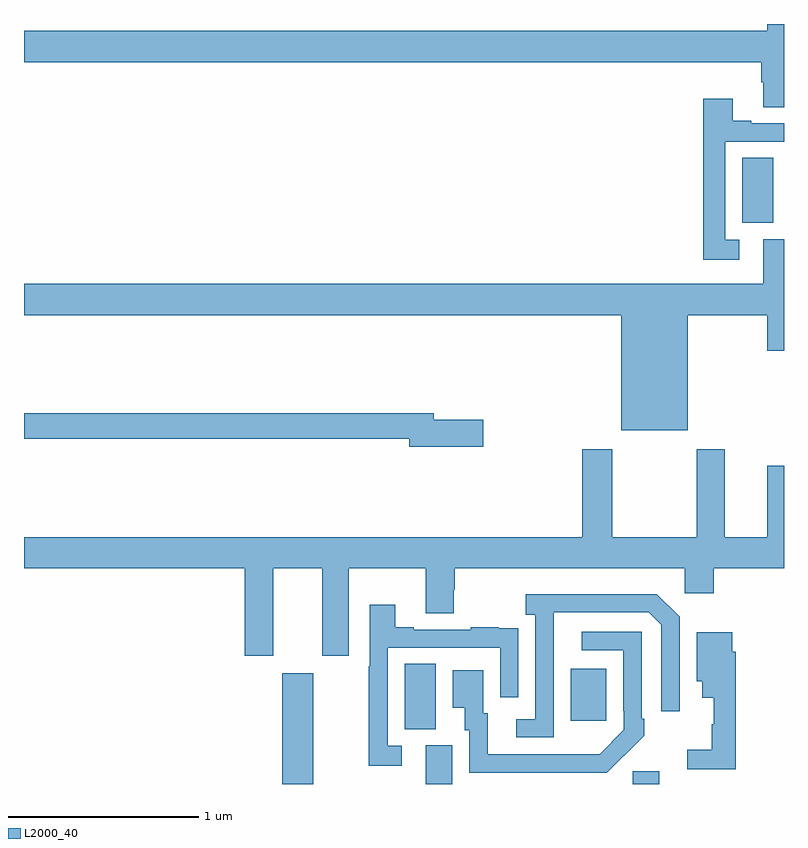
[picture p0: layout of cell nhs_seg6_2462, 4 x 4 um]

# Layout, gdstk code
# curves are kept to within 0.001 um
import gdstk
lib = gdstk.Library(unit=1e-6, precision=1e-09)
def R(c, l, rs):  # rectangles x0, y0, x1, y1
    for r in rs: c.add(gdstk.rectangle(r[:2], r[2:], *l))
def P(c, l, *ps):  # polygons
    for p in ps: c.add(gdstk.Polygon(p, *l))
L2000_40 = (2000, 40)

nhs_seg6_2462 = lib.new_cell('nhs_seg6_2462')
R(nhs_seg6_2462, L2000_40, [(258.359,979.5,258.523,980.083), (259.115,979.5,259.255,979.704), (260.205,979.5,260.344,979.566), (259.004,979.789,259.168,980.132), (259.877,979.833,260.065,980.107), (260.78,982.453,260.944,982.796)])
P(nhs_seg6_2462, L2000_40, [(261,983.5),(260.912,983.5),(260.912,983.464),(257,983.464),(257,983.3),(260.879,983.3),(260.879,983.194),(260.891,983.194),(260.891,983.062),(261,983.062)],
  [(260.764,982.365),(260.691,982.365),(260.691,982.881),(261,982.881),(261,982.977),(260.827,982.977),(260.827,982.99),(260.731,982.99),(260.731,983.107),(260.575,983.107),(260.575,982.26),(260.764,982.26)],
  [(260.494,981.968),(260.912,981.968),(260.912,981.78),(261,981.78),(261,982.368),(260.891,982.368),(260.891,982.132),(257,982.132),(257,981.968),(260.144,981.968),(260.144,981.362),(260.494,981.362)],
  [(259.416,981.416),(259.156,981.416),(259.156,981.452),(257,981.452),(257,981.316),(259.028,981.316),(259.028,981.274),(259.416,981.274)],
  [(258.313,980.636),(258.569,980.636),(258.569,980.175),(258.709,980.175),(258.709,980.636),(259.115,980.636),(259.115,980.398),(259.263,980.398),(259.263,980.523),(259.267,980.523),(259.267,980.636),(260.478,980.636),(260.478,980.505),(260.63,980.505),(260.63,980.636),(261,980.636),(261,981.175),(260.912,981.175),(260.912,980.8),(260.689,980.8),(260.689,981.262),(260.541,981.262),(260.541,980.8),(260.097,980.8),(260.097,981.262),(259.937,981.262),(259.937,980.8),(257,980.8),(257,980.636),(258.161,980.636),(258.161,980.175),(258.313,980.175)],
  [(259.788,980.203),(259.789,980.403),(260.289,980.403),(260.355,980.337),(260.355,979.884),(260.451,979.884),(260.451,980.379),(260.33,980.5),(259.641,980.5),(259.641,980.39),(259.692,980.39),(259.692,979.842),(259.59,979.842),(259.59,979.746),(259.788,979.746)],
  [(258.988,979.701),(258.915,979.701),(258.915,980.217),(259.506,980.217),(259.506,979.956),(259.602,979.956),(259.602,980.21),(259.601,980.21),(259.601,980.319),(259.499,980.319),(259.499,980.326),(259.351,980.326),(259.351,980.313),(259.051,980.313),(259.051,980.326),(258.955,980.326),(258.955,980.443),(258.819,980.443),(258.819,980.12),(258.814,980.12),(258.814,979.596),(258.988,979.596)],
  [(260.159,979.651),(260.16,979.65),(260.265,979.755),(260.265,979.843),(260.25,979.843),(260.25,980.301),(259.935,980.301),(259.935,980.205),(260.154,980.205),(260.154,979.885),(260.157,979.885),(260.157,979.785),(260.029,979.657),(259.441,979.656),(259.441,979.872),(259.417,979.872),(259.417,980.098),(259.256,980.098),(259.256,979.901),(259.319,979.901),(259.319,979.782),(259.344,979.782),(259.344,979.56),(260.068,979.56)],
  [(260.747,980.195),(260.728,980.195),(260.728,980.299),(260.54,980.299),(260.54,980.042),(260.57,980.042),(260.57,979.955),(260.63,979.955),(260.63,979.815),(260.619,979.815),(260.619,979.679),(260.49,979.679),(260.49,979.578),(260.747,979.578)])

lib.write_gds('nhs_seg6_2462.gds')
